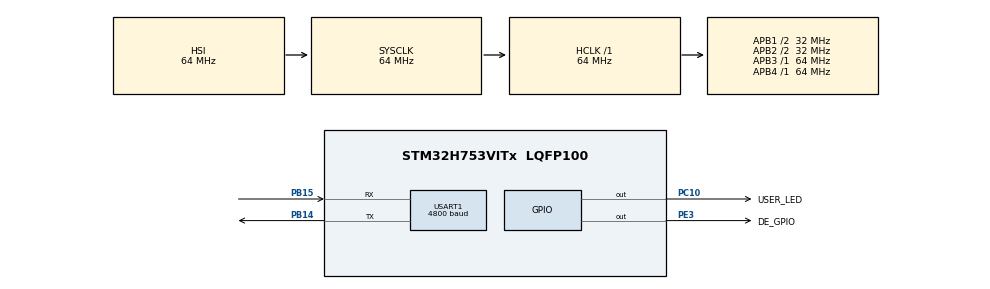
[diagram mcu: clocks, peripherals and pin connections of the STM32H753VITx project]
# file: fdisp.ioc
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CORTEX_M7.default_mode_Activation=1
Dma.Request0=USART1_RX
Dma.USART1_RX.0.Direction=DMA_PERIPH_TO_MEMORY
Dma.USART1_RX.0.EventEnable=DISABLE
Dma.USART1_RX.0.FIFOMode=DMA_FIFOMODE_DISABLE
Dma.USART1_RX.0.Instance=DMA1_Stream0
Dma.USART1_RX.0.MemDataAlignment=DMA_MDATAALIGN_BYTE
Dma.USART1_RX.0.MemInc=DMA_MINC_ENABLE
Dma.USART1_RX.0.Mode=DMA_NORMAL
Dma.USART1_RX.0.PeriphDataAlignment=DMA_PDATAALIGN_BYTE
Dma.USART1_RX.0.PeriphInc=DMA_PINC_DISABLE
Dma.USART1_RX.0.Polarity=HAL_DMAMUX_REQ_GEN_RISING
Dma.USART1_RX.0.Priority=DMA_PRIORITY_LOW
Dma.USART1_RX.0.RequestNumber=1
Dma.USART1_RX.0.SignalID=NONE
Dma.USART1_RX.0.SyncEnable=DISABLE
Dma.USART1_RX.0.SyncPolarity=HAL_DMAMUX_SYNC_NO_EVENT
Dma.USART1_RX.0.SyncRequestNumber=1
Dma.USART1_RX.0.SyncSignalID=NONE
Mcu.Family=STM32H7
Mcu.Name=STM32H753VITx
Mcu.Package=LQFP100
NVIC.DMA1_Stream0_IRQn=true\:0\:0\:false\:false\:true\:false\:true\:true
NVIC.PriorityGroup=NVIC_PRIORITYGROUP_4
NVIC.USART1_IRQn=true\:0\:0\:false\:false\:true\:true\:true\:true
PB14.Mode=Asynchronous
PB14.Signal=USART1_TX
PB15.Mode=Asynchronous
PB15.Signal=USART1_RX
PC10.GPIO_Label=USER_LED
PC10.Signal=GPIO_Output
PE3.GPIO_Label=DE_GPIO
PE3.Signal=GPIO_Output
ProjectManager.HeapSize=0x200
ProjectManager.StackSize=0x400
ProjectManager.TargetToolchain=STM32CubeIDE
RCC.ADCFreq_Value=129000000
RCC.APB1Freq_Value=32000000
RCC.APB2Freq_Value=32000000
RCC.APB3Freq_Value=64000000
RCC.APB4Freq_Value=64000000
RCC.CortexFreq_Value=64000000
RCC.D2PPRE1=RCC_APB1_DIV2
RCC.D2PPRE2=RCC_APB2_DIV2
RCC.HCLKFreq_Value=64000000
RCC.SYSCLKFreq_VALUE=64000000
RCC.USBFreq_Value=129000000
USART1.BaudRate=4800
USART1.VirtualMode-Asynchronous=VM_ASYNC
board=custom

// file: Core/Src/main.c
/* USER CODE BEGIN Header */
/**
 ******************************************************************************
 * @file           : main.c
 * @brief          : Main program body
 ******************************************************************************
 * @attention
 *
 * Copyright (c) 2026 STMicroelectronics.
 * All rights reserved.
 *
 * This software is licensed under terms that can be found in the LICENSE file
 * in the root directory of this software component.
 * If no LICENSE file comes with this software, it is provided AS-IS.
 *
 ******************************************************************************
 */
/* USER CODE END Header */
#include "main.h"

/* USER CODE BEGIN Includes */
#include<string.h>
#include<stdio.h>
#include<stdbool.h>
#include "genuine_rs485.h"

/* USER CODE END Includes */

UART_HandleTypeDef huart1;
DMA_HandleTypeDef hdma_usart1_rx;

/* USER CODE BEGIN PV */

DISP_Status_t disp_status;
static DISP_Status_t prevStatus;
DISP_ErrorCode_t disp_err;

int16_t offline_record_count = 0;

float vol_stopped = 0;
float sale_stopped = 0;
float vol_accumulated = 0;
float sale_accumulated = 0;
int nozzleNumber = 1;

/* USER CODE END PV */

void SystemClock_Config(void);
static void MPU_Config(void);
static void MX_GPIO_Init(void);
static void MX_DMA_Init(void);
static void MX_USART1_UART_Init(void);

int main(void)
{

  /* MPU Configuration--------------------------------------------------------*/
  MPU_Config();

  /* MCU Configuration--------------------------------------------------------*/

  /* Reset of all peripherals, Initializes the Flash interface and the Systick. */
  HAL_Init();

  /* Configure the system clock */
  SystemClock_Config();

  /* Initialize all configured peripherals */
  MX_GPIO_Init();
  MX_DMA_Init();
  MX_USART1_UART_Init();
  /* USER CODE BEGIN 2 */
  RS485_Init(&huart1, DE_GPIO_GPIO_Port, DE_GPIO_Pin);

  Disp_SetMode(DISP_MODE_CONTROL);
  int16_t offlineFuelingCount;
  Disp_CheckOfflineFuelingCount(&offlineFuelingCount);
  DISP_CommState_t CommState = Disp_CheckCommunication(5);

  /* USER CODE END 2 */

  /* Infinite loop */
  /* USER CODE BEGIN WHILE */

	while (1) {
		disp_err = Disp_ReadStatus(&disp_status);

		HAL_Delay(DISP_POLL_RATE);

    /* USER CODE END WHILE */

	}
}

void SystemClock_Config(void)
{
  RCC_OscInitTypeDef RCC_OscInitStruct = {0};
  RCC_ClkInitTypeDef RCC_ClkInitStruct = {0};

  /** Supply configuration update enable
  */
  HAL_PWREx_ConfigSupply(PWR_LDO_SUPPLY);

  /** Configure the main internal regulator output voltage
  */
  __HAL_PWR_VOLTAGESCALING_CONFIG(PWR_REGULATOR_VOLTAGE_SCALE3);

  while(!__HAL_PWR_GET_FLAG(PWR_FLAG_VOSRDY)) {}

  /** Initializes the RCC Oscillators according to the specified parameters
  * in the RCC_OscInitTypeDef structure.
  */
  RCC_OscInitStruct.OscillatorType = RCC_OSCILLATORTYPE_HSI;
  RCC_OscInitStruct.HSIState = RCC_HSI_DIV1;
  RCC_OscInitStruct.HSICalibrationValue = RCC_HSICALIBRATION_DEFAULT;
  RCC_OscInitStruct.PLL.PLLState = RCC_PLL_NONE;
  if (HAL_RCC_OscConfig(&RCC_OscInitStruct) != HAL_OK)
  {
    Error_Handler();
  }

  /** Initializes the CPU, AHB and APB buses clocks
  */
  RCC_ClkInitStruct.ClockType = RCC_CLOCKTYPE_HCLK|RCC_CLOCKTYPE_SYSCLK
                              |RCC_CLOCKTYPE_PCLK1|RCC_CLOCKTYPE_PCLK2
                              |RCC_CLOCKTYPE_D3PCLK1|RCC_CLOCKTYPE_D1PCLK1;
  RCC_ClkInitStruct.SYSCLKSource = RCC_SYSCLKSOURCE_HSI;
  RCC_ClkInitStruct.SYSCLKDivider = RCC_SYSCLK_DIV1;
  RCC_ClkInitStruct.AHBCLKDivider = RCC_HCLK_DIV1;
  RCC_ClkInitStruct.APB3CLKDivider = RCC_APB3_DIV1;
  RCC_ClkInitStruct.APB1CLKDivider = RCC_APB1_DIV2;
  RCC_ClkInitStruct.APB2CLKDivider = RCC_APB2_DIV2;
  RCC_ClkInitStruct.APB4CLKDivider = RCC_APB4_DIV1;

  if (HAL_RCC_ClockConfig(&RCC_ClkInitStruct, FLASH_LATENCY_1) != HAL_OK)
  {
    Error_Handler();
  }
}

static void MX_USART1_UART_Init(void)
{

  huart1.Instance = USART1;
  huart1.Init.BaudRate = 4800;
  huart1.Init.WordLength = UART_WORDLENGTH_8B;
  huart1.Init.StopBits = UART_STOPBITS_1;
  huart1.Init.Parity = UART_PARITY_NONE;
  huart1.Init.Mode = UART_MODE_TX_RX;
  huart1.Init.HwFlowCtl = UART_HWCONTROL_NONE;
  huart1.Init.OverSampling = UART_OVERSAMPLING_16;
  huart1.Init.OneBitSampling = UART_ONE_BIT_SAMPLE_DISABLE;
  huart1.Init.ClockPrescaler = UART_PRESCALER_DIV1;
  huart1.AdvancedInit.AdvFeatureInit = UART_ADVFEATURE_NO_INIT;
  if (HAL_UART_Init(&huart1) != HAL_OK)
  {
    Error_Handler();
  }
  if (HAL_UARTEx_SetTxFifoThreshold(&huart1, UART_TXFIFO_THRESHOLD_1_8) != HAL_OK)
  {
    Error_Handler();
  }
  if (HAL_UARTEx_SetRxFifoThreshold(&huart1, UART_RXFIFO_THRESHOLD_1_8) != HAL_OK)
  {
    Error_Handler();
  }
  if (HAL_UARTEx_DisableFifoMode(&huart1) != HAL_OK)
  {
    Error_Handler();
  }

}

static void MX_DMA_Init(void)
{

  /* DMA controller clock enable */
  __HAL_RCC_DMA1_CLK_ENABLE();

  /* DMA interrupt init */
  /* DMA1_Stream0_IRQn interrupt configuration */
  HAL_NVIC_SetPriority(DMA1_Stream0_IRQn, 0, 0);
  HAL_NVIC_EnableIRQ(DMA1_Stream0_IRQn);

}

static void MX_GPIO_Init(void)
{
  GPIO_InitTypeDef GPIO_InitStruct = {0};

  /* GPIO Ports Clock Enable */
  __HAL_RCC_GPIOE_CLK_ENABLE();
  __HAL_RCC_GPIOB_CLK_ENABLE();
  __HAL_RCC_GPIOC_CLK_ENABLE();

  /*Configure GPIO pin Output Level */
  HAL_GPIO_WritePin(DE_GPIO_GPIO_Port, DE_GPIO_Pin, GPIO_PIN_RESET);

  /*Configure GPIO pin Output Level */
  HAL_GPIO_WritePin(USER_LED_GPIO_Port, USER_LED_Pin, GPIO_PIN_RESET);

  /*Configure GPIO pin : DE_GPIO_Pin */
  GPIO_InitStruct.Pin = DE_GPIO_Pin;
  GPIO_InitStruct.Mode = GPIO_MODE_OUTPUT_PP;
  GPIO_InitStruct.Pull = GPIO_NOPULL;
  GPIO_InitStruct.Speed = GPIO_SPEED_FREQ_LOW;
  HAL_GPIO_Init(DE_GPIO_GPIO_Port, &GPIO_InitStruct);

  /*Configure GPIO pin : USER_LED_Pin */
  GPIO_InitStruct.Pin = USER_LED_Pin;
  GPIO_InitStruct.Mode = GPIO_MODE_OUTPUT_PP;
  GPIO_InitStruct.Pull = GPIO_NOPULL;
  GPIO_InitStruct.Speed = GPIO_SPEED_FREQ_LOW;
  HAL_GPIO_Init(USER_LED_GPIO_Port, &GPIO_InitStruct);

}

 /* MPU Configuration */

void MPU_Config(void)
{
  MPU_Region_InitTypeDef MPU_InitStruct = {0};

  /* Disables the MPU */
  HAL_MPU_Disable();

  /** Initializes and configures the Region and the memory to be protected
  */
  MPU_InitStruct.Enable = MPU_REGION_ENABLE;
  MPU_InitStruct.Number = MPU_REGION_NUMBER0;
  MPU_InitStruct.BaseAddress = 0x0;
  MPU_InitStruct.Size = MPU_REGION_SIZE_4GB;
  MPU_InitStruct.SubRegionDisable = 0x87;
  MPU_InitStruct.TypeExtField = MPU_TEX_LEVEL0;
  MPU_InitStruct.AccessPermission = MPU_REGION_NO_ACCESS;
  MPU_InitStruct.DisableExec = MPU_INSTRUCTION_ACCESS_DISABLE;
  MPU_InitStruct.IsShareable = MPU_ACCESS_SHAREABLE;
  MPU_InitStruct.IsCacheable = MPU_ACCESS_NOT_CACHEABLE;
  MPU_InitStruct.IsBufferable = MPU_ACCESS_NOT_BUFFERABLE;

  HAL_MPU_ConfigRegion(&MPU_InitStruct);
  /* Enables the MPU */
  HAL_MPU_Enable(MPU_PRIVILEGED_DEFAULT);

}

void Error_Handler(void)
{
	__disable_irq();
	while (1) {
	}
}
